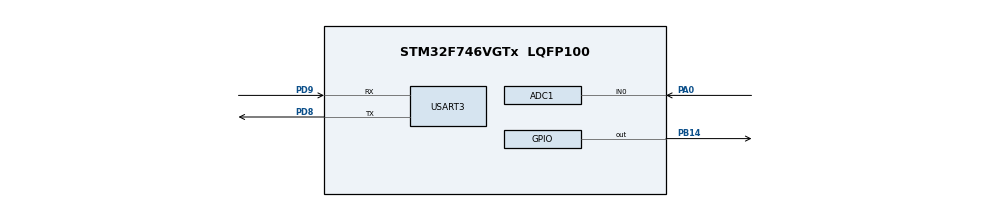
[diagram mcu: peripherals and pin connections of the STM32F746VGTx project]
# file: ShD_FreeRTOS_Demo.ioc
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ADC1.Channel-0\#ChannelRegularConversion=ADC_CHANNEL_0
ADC1.NbrOfConversionFlag=1
ADC1.Rank-0\#ChannelRegularConversion=1
ADC1.SamplingTime-0\#ChannelRegularConversion=ADC_SAMPLETIME_3CYCLES
ADC1.master=1
CORTEX_M7.default_mode_Activation=1
FREERTOS.Tasks01=defaultTask,24,128,StartDefaultTask,Default,NULL,Dynamic,NULL,NULL
FREERTOS.configUSE_NEWLIB_REENTRANT=1
Mcu.Family=STM32F7
Mcu.Name=STM32F746VGTx
Mcu.Package=LQFP100
NVIC.PriorityGroup=NVIC_PRIORITYGROUP_4
NVIC.TIM1_UP_TIM10_IRQn=true\:15\:0\:false\:false\:true\:false\:false\:true\:true
NVIC.TimeBase=TIM1_UP_TIM10_IRQn
NVIC.TimeBaseIP=TIM1
NVIC.USART3_IRQn=true\:5\:0\:false\:false\:true\:true\:true\:true\:true
PA0/WKUP.Signal=ADCx_IN0
PB14.Signal=GPIO_Output
PD8.Mode=Asynchronous
PD8.Signal=USART3_TX
PD9.Mode=Asynchronous
PD9.Signal=USART3_RX
PH0/OSC_IN.Mode=HSE-External-Clock-Source
PH0/OSC_IN.Signal=RCC_OSC_IN
PH1/OSC_OUT.Mode=HSE-External-Clock-Source
PH1/OSC_OUT.Signal=RCC_OSC_OUT
ProjectManager.HeapSize=0x200
ProjectManager.StackSize=0x400
ProjectManager.TargetToolchain=STM32CubeIDE
RCC.HSE_VALUE=25000000
RCC.HSI_VALUE=16000000
RCC.LSE_VALUE=32768
RCC.USBFreq_Value=96000000
RCC.VCOOutputFreq_Value=192000000
SH.ADCx_IN0.0=ADC1_IN0,IN0
USART3.VirtualMode-Asynchronous=VM_ASYNC
VP_FREERTOS_VS_CMSIS_V2.Mode=CMSIS_V2
VP_SYS_VS_tim1.Mode=TIM1
board=custom

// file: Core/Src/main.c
/* USER CODE BEGIN Header */
/**
  ******************************************************************************
  * @file           : main.c
  * @brief          : Main program body
  ******************************************************************************
  * @attention
  *
  * Copyright (c) 2025 STMicroelectronics.
  * All rights reserved.
  *
  * This software is licensed under terms that can be found in the LICENSE file
  * in the root directory of this software component.
  * If no LICENSE file comes with this software, it is provided AS-IS.
  *
  ******************************************************************************
  */
/* USER CODE END Header */
#include "main.h"
#include "cmsis_os.h"

/* USER CODE BEGIN Includes */
#include <string.h>
#include <stdio.h>
/* USER CODE END Includes */

ADC_HandleTypeDef hadc1;

UART_HandleTypeDef huart3;

/* Definitions for defaultTask */

/* USER CODE BEGIN PV */
uint8_t TempReceiveByte = 0;
#define BIT_0 (1UL << 0)
#define BIT_1 (1UL << 1)
#define BIT_2 (1UL << 2)
TaskHandle_t task1_Handler, task2_Handler,task3_Handler;
TimerHandle_t LedTimer_H;

QueueHandle_t SensorQueue_H;
SemaphoreHandle_t xRxSemaphore;
EventGroupHandle_t xSystemEvents;
char rxBuffer[32];
uint8_t rxIndex = 0;
#define LOG_BUFFER_SIZE 64
uint16_t logBuffer[LOG_BUFFER_SIZE];
uint16_t logHead = 0;
SemaphoreHandle_t xLogBufferMutex;

/* USER CODE END PV */

void SystemClock_Config(void);
static void MPU_Config(void);
static void MX_GPIO_Init(void);
static void MX_USART3_UART_Init(void);
static void MX_ADC1_Init(void);
void StartDefaultTask(void *argument);

/* USER CODE BEGIN PFP */
void vCommTask(void *pvParameters);
void vLoggerTask(void *pvParameters);
void vSensorTask (void *pvParameters);
void vLedTimerCallback(TimerHandle_t xTimer);
/* USER CODE END PFP */

int main(void)
{

  /* MPU Configuration--------------------------------------------------------*/
  MPU_Config();

  /* MCU Configuration--------------------------------------------------------*/

  /* Reset of all peripherals, Initializes the Flash interface and the Systick. */
  HAL_Init();

  /* Configure the system clock */
  SystemClock_Config();

  /* Initialize all configured peripherals */
  MX_GPIO_Init();
  MX_USART3_UART_Init();
  MX_ADC1_Init();

  /* Init scheduler */

  /* Create the thread(s) */
  /* creation of defaultTask */

  /* Start scheduler */

  /* We should never get here as control is now taken by the scheduler */

  /* Infinite loop */
  /* USER CODE BEGIN WHILE */
  LedTimer_H = xTimerCreate("LEDTimer",
                          pdMS_TO_TICKS(1000),
                          pdTRUE,
                          (void*)0,
                          vLedTimerCallback);

  // Start the timer
  if (LedTimer_H != NULL)
  {
      xTimerStart(LedTimer_H, 0);
  }
  xTaskCreate(vCommTask, "CommTask", 256, NULL, 3, &task2_Handler);
  xTaskCreate(vLoggerTask, "LoggerTask", 256, NULL, 2, &task3_Handler);
  xTaskCreate(vSensorTask, "SensorTask", 256, NULL, 1, &task1_Handler);
  xRxSemaphore = xSemaphoreCreateBinary();
  xLogBufferMutex = xSemaphoreCreateMutex();
  xSystemEvents = xEventGroupCreate();
  SensorQueue_H = xQueueCreate(10, sizeof(uint32_t));
  vTaskStartScheduler();

  while (1)
  {
    /* USER CODE END WHILE */

  }
}

void SystemClock_Config(void)
{
  RCC_OscInitTypeDef RCC_OscInitStruct = {0};
  RCC_ClkInitTypeDef RCC_ClkInitStruct = {0};

  /** Configure the main internal regulator output voltage
  */
  __HAL_RCC_PWR_CLK_ENABLE();
  __HAL_PWR_VOLTAGESCALING_CONFIG(PWR_REGULATOR_VOLTAGE_SCALE3);

  /** Initializes the RCC Oscillators according to the specified parameters
  * in the RCC_OscInitTypeDef structure.
  */
  RCC_OscInitStruct.OscillatorType = RCC_OSCILLATORTYPE_HSI;
  RCC_OscInitStruct.HSIState = RCC_HSI_ON;
  RCC_OscInitStruct.HSICalibrationValue = RCC_HSICALIBRATION_DEFAULT;
  RCC_OscInitStruct.PLL.PLLState = RCC_PLL_NONE;
  if (HAL_RCC_OscConfig(&RCC_OscInitStruct) != HAL_OK)
  {
    Error_Handler();
  }

  /** Initializes the CPU, AHB and APB buses clocks
  */
  RCC_ClkInitStruct.ClockType = RCC_CLOCKTYPE_HCLK|RCC_CLOCKTYPE_SYSCLK
                              |RCC_CLOCKTYPE_PCLK1|RCC_CLOCKTYPE_PCLK2;
  RCC_ClkInitStruct.SYSCLKSource = RCC_SYSCLKSOURCE_HSI;
  RCC_ClkInitStruct.AHBCLKDivider = RCC_SYSCLK_DIV1;
  RCC_ClkInitStruct.APB1CLKDivider = RCC_HCLK_DIV1;
  RCC_ClkInitStruct.APB2CLKDivider = RCC_HCLK_DIV1;

  if (HAL_RCC_ClockConfig(&RCC_ClkInitStruct, FLASH_LATENCY_0) != HAL_OK)
  {
    Error_Handler();
  }
}

static void MX_ADC1_Init(void)
{

  ADC_ChannelConfTypeDef sConfig = {0};

  /** Configure the global features of the ADC (Clock, Resolution, Data Alignment and number of conversion)
  */
  hadc1.Instance = ADC1;
  hadc1.Init.ClockPrescaler = ADC_CLOCK_SYNC_PCLK_DIV2;
  hadc1.Init.Resolution = ADC_RESOLUTION_12B;
  hadc1.Init.ScanConvMode = ADC_SCAN_DISABLE;
  hadc1.Init.ContinuousConvMode = DISABLE;
  hadc1.Init.DiscontinuousConvMode = DISABLE;
  hadc1.Init.ExternalTrigConvEdge = ADC_EXTERNALTRIGCONVEDGE_NONE;
  hadc1.Init.ExternalTrigConv = ADC_SOFTWARE_START;
  hadc1.Init.DataAlign = ADC_DATAALIGN_RIGHT;
  hadc1.Init.NbrOfConversion = 1;
  hadc1.Init.DMAContinuousRequests = DISABLE;
  hadc1.Init.EOCSelection = ADC_EOC_SINGLE_CONV;
  if (HAL_ADC_Init(&hadc1) != HAL_OK)
  {
    Error_Handler();
  }

  /** Configure for the selected ADC regular channel its corresponding rank in the sequencer and its sample time.
  */
  sConfig.Channel = ADC_CHANNEL_0;
  sConfig.Rank = ADC_REGULAR_RANK_1;
  sConfig.SamplingTime = ADC_SAMPLETIME_3CYCLES;
  if (HAL_ADC_ConfigChannel(&hadc1, &sConfig) != HAL_OK)
  {
    Error_Handler();
  }

}

static void MX_USART3_UART_Init(void)
{

  huart3.Instance = USART3;
  huart3.Init.BaudRate = 115200;
  huart3.Init.WordLength = UART_WORDLENGTH_8B;
  huart3.Init.StopBits = UART_STOPBITS_1;
  huart3.Init.Parity = UART_PARITY_NONE;
  huart3.Init.Mode = UART_MODE_TX_RX;
  huart3.Init.HwFlowCtl = UART_HWCONTROL_NONE;
  huart3.Init.OverSampling = UART_OVERSAMPLING_16;
  huart3.Init.OneBitSampling = UART_ONE_BIT_SAMPLE_DISABLE;
  huart3.AdvancedInit.AdvFeatureInit = UART_ADVFEATURE_NO_INIT;
  if (HAL_UART_Init(&huart3) != HAL_OK)
  {
    Error_Handler();
  }
  /* USER CODE BEGIN USART3_Init 2 */
  HAL_NVIC_SetPriority(USART3_IRQn,5,0);
  HAL_NVIC_EnableIRQ(USART3_IRQn);
  HAL_UART_Receive_IT(&huart3, &TempReceiveByte,1);
  /* USER CODE END USART3_Init 2 */

}

static void MX_GPIO_Init(void)
{
  GPIO_InitTypeDef GPIO_InitStruct = {0};

  /* GPIO Ports Clock Enable */
  __HAL_RCC_GPIOH_CLK_ENABLE();
  __HAL_RCC_GPIOA_CLK_ENABLE();
  __HAL_RCC_GPIOB_CLK_ENABLE();
  __HAL_RCC_GPIOD_CLK_ENABLE();

  /*Configure GPIO pin Output Level */
  HAL_GPIO_WritePin(GPIOB, GPIO_PIN_14, GPIO_PIN_RESET);

  /*Configure GPIO pin : PB14 */
  GPIO_InitStruct.Pin = GPIO_PIN_14;
  GPIO_InitStruct.Mode = GPIO_MODE_OUTPUT_PP;
  GPIO_InitStruct.Pull = GPIO_NOPULL;
  GPIO_InitStruct.Speed = GPIO_SPEED_FREQ_LOW;
  HAL_GPIO_Init(GPIOB, &GPIO_InitStruct);

}

/* USER CODE BEGIN 4 */

void vLedTimerCallback(TimerHandle_t xTimer)
{
    EventBits_t bits = xEventGroupGetBits(xSystemEvents);

    if (bits & (1 << 1)) // ERROR_FLAG
    {
        HAL_GPIO_TogglePin(GPIOB, GPIO_PIN_14); // rapid blink
        xTimerChangePeriod(xTimer, pdMS_TO_TICKS(100), 0);
    }
    else if (bits & (1 << 0)) // LOGGING_ENABLED
    {
        HAL_GPIO_TogglePin(GPIOB, GPIO_PIN_14); // fast blink
        xTimerChangePeriod(xTimer, pdMS_TO_TICKS(500), 0);
    }
    else
    {
        HAL_GPIO_TogglePin(GPIOB, GPIO_PIN_14); // slow blink
        xTimerChangePeriod(xTimer, pdMS_TO_TICKS(2000), 0);
    }
}

void vSensorTask(void *pvParameters)
{
    uint32_t ADCValue = 0;
    for (;;)
    {
    	HAL_ADC_Start(&hadc1);                     // start conversion
    	HAL_ADC_PollForConversion(&hadc1, HAL_MAX_DELAY);
    	ADCValue = HAL_ADC_GetValue(&hadc1);       // read result
    	HAL_ADC_Stop(&hadc1);
    	xQueueSend(SensorQueue_H, &ADCValue, portMAX_DELAY);
        vTaskDelay(pdMS_TO_TICKS(500)); // every 500 ms
    }
}

void vCommTask(void *pvParameters)
{
    for (;;)
    {
        // Wait for data from ISR
        if (xSemaphoreTake(xRxSemaphore, portMAX_DELAY) == pdTRUE)
        {
            if (strstr(rxBuffer, "START") != NULL)
            {
                xEventGroupSetBits(xSystemEvents, (1 << 0)); // LOGGING_ENABLED
                char msg[] = "Logging started\r\n";
                HAL_UART_Transmit(&huart3, (uint8_t *)msg, strlen(msg), HAL_MAX_DELAY);
            }
            else if (strstr(rxBuffer, "STOP") != NULL)
            {
                xEventGroupClearBits(xSystemEvents, (1 << 0));
                char msg[] = "Logging stopped\r\n";
                HAL_UART_Transmit(&huart3, (uint8_t *)msg, strlen(msg), HAL_MAX_DELAY);
            }
            else if (strstr(rxBuffer, "GET") != NULL)
            {
                if (xSemaphoreTake(xLogBufferMutex, portMAX_DELAY) == pdTRUE)
                {
                    char msg[64];
                    for (int i = 0; i < LOG_BUFFER_SIZE; i++)
                    {
                        int len = sprintf(msg, "%u\r\n", logBuffer[i]);
                        HAL_UART_Transmit(&huart3, (uint8_t *)msg, len, HAL_MAX_DELAY);
                    }
                    xSemaphoreGive(xLogBufferMutex);
                }
            }
            // Reset buffer after command processed
            memset(rxBuffer, 0, sizeof(rxBuffer));
            rxIndex = 0;
        }
    }
}

void vLoggerTask(void *pvParameters)
{
    uint32_t receivedValue;

    for (;;)
    {
        // Wait for new sensor value
        if (xQueueReceive(SensorQueue_H, &receivedValue, portMAX_DELAY) == pdPASS)
        {
            if (xEventGroupGetBits(xSystemEvents) & (1 << 0)) // LOGGING_ENABLED bit
            {
                // Store into circular buffer with mutex protection
                if (xSemaphoreTake(xLogBufferMutex, portMAX_DELAY) == pdTRUE)
                {
                    logBuffer[logHead] = receivedValue;
                    logHead = (logHead + 1) % LOG_BUFFER_SIZE;
                    xSemaphoreGive(xLogBufferMutex);
                }
            }
        }
    }
}

void HAL_UART_RxCpltCallback(UART_HandleTypeDef *huart)
{
    BaseType_t xHPW = pdFALSE;
    if (huart->Instance == USART3)
    {
        if (TempReceiveByte == '\n') // end of command
        {
            xSemaphoreGiveFromISR(xRxSemaphore, &xHPW);
        }
        else if (rxIndex < sizeof(rxBuffer) - 1)
        {
            rxBuffer[rxIndex++] = TempReceiveByte;
        }

        // Re-enable RX interrupt
        HAL_UART_Receive_IT(&huart3, &TempReceiveByte, 1);
    }
    portYIELD_FROM_ISR(xHPW);
}

/* USER CODE END 4 */

void StartDefaultTask(void *argument)
{
  for(;;)
  {
    osDelay(1);
  }
}

 /* MPU Configuration */

void MPU_Config(void)
{
  MPU_Region_InitTypeDef MPU_InitStruct = {0};

  /* Disables the MPU */
  HAL_MPU_Disable();

  /** Initializes and configures the Region and the memory to be protected
  */
  MPU_InitStruct.Enable = MPU_REGION_ENABLE;
  MPU_InitStruct.Number = MPU_REGION_NUMBER0;
  MPU_InitStruct.BaseAddress = 0x0;
  MPU_InitStruct.Size = MPU_REGION_SIZE_4GB;
  MPU_InitStruct.SubRegionDisable = 0x87;
  MPU_InitStruct.TypeExtField = MPU_TEX_LEVEL0;
  MPU_InitStruct.AccessPermission = MPU_REGION_NO_ACCESS;
  MPU_InitStruct.DisableExec = MPU_INSTRUCTION_ACCESS_DISABLE;
  MPU_InitStruct.IsShareable = MPU_ACCESS_SHAREABLE;
  MPU_InitStruct.IsCacheable = MPU_ACCESS_NOT_CACHEABLE;
  MPU_InitStruct.IsBufferable = MPU_ACCESS_NOT_BUFFERABLE;

  HAL_MPU_ConfigRegion(&MPU_InitStruct);
  /* Enables the MPU */
  HAL_MPU_Enable(MPU_PRIVILEGED_DEFAULT);

}

void HAL_TIM_PeriodElapsedCallback(TIM_HandleTypeDef *htim)
{
  if (htim->Instance == TIM1)
  {
    HAL_IncTick();
  }
}

void Error_Handler(void)
{
  __disable_irq();
  while (1)
  {
  }
}
